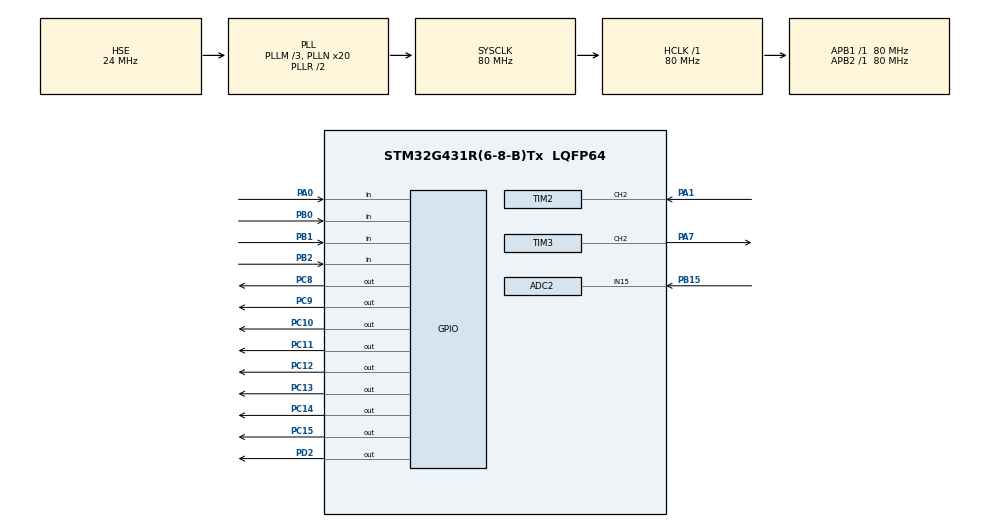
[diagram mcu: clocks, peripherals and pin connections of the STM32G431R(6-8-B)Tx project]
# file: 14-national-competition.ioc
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ADC2.Channel-0\#ChannelRegularConversion=ADC_CHANNEL_15
ADC2.NbrOfConversionFlag=1
ADC2.OffsetNumber-0\#ChannelRegularConversion=ADC_OFFSET_NONE
ADC2.Rank-0\#ChannelRegularConversion=1
ADC2.SamplingTime-0\#ChannelRegularConversion=ADC_SAMPLETIME_2CYCLES_5
Mcu.Family=STM32G4
Mcu.Name=STM32G431R(6-8-B)Tx
Mcu.Package=LQFP64
NVIC.PriorityGroup=NVIC_PRIORITYGROUP_4
NVIC.TIM1_BRK_TIM15_IRQn=true\:0\:0\:false\:false\:true\:true\:true\:true
NVIC.TIM2_IRQn=true\:0\:0\:false\:false\:true\:true\:true\:true
NVIC.TIM4_IRQn=true\:0\:0\:false\:false\:true\:true\:true\:true
NVIC.TIM8_UP_IRQn=true\:0\:0\:false\:false\:true\:true\:true\:true
PA0.GPIO_PuPd=GPIO_PULLUP
PA0.Signal=GPIO_Input
PA1.Signal=S_TIM2_CH2
PA13.Mode=Serial_Wire
PA13.Signal=SYS_JTMS-SWDIO
PA14.Mode=Serial_Wire
PA14.Signal=SYS_JTCK-SWCLK
PA7.Signal=S_TIM3_CH2
PB0.GPIO_PuPd=GPIO_PULLUP
PB0.Signal=GPIO_Input
PB1.GPIO_PuPd=GPIO_PULLUP
PB1.Signal=GPIO_Input
PB15.Mode=IN15-Single-Ended
PB15.Signal=ADC2_IN15
PB2.GPIO_PuPd=GPIO_PULLUP
PB2.Signal=GPIO_Input
PC10.PinState=GPIO_PIN_SET
PC10.Signal=GPIO_Output
PC11.PinState=GPIO_PIN_SET
PC11.Signal=GPIO_Output
PC12.Signal=GPIO_Output
PC13.PinState=GPIO_PIN_SET
PC13.Signal=GPIO_Output
PC14-OSC32_IN.PinState=GPIO_PIN_SET
PC14-OSC32_IN.Signal=GPIO_Output
PC15-OSC32_OUT.PinState=GPIO_PIN_SET
PC15-OSC32_OUT.Signal=GPIO_Output
PC8.PinState=GPIO_PIN_SET
PC8.Signal=GPIO_Output
PC9.PinState=GPIO_PIN_SET
PC9.Signal=GPIO_Output
PD2.Signal=GPIO_Output
PF0-OSC_IN.Mode=HSE-External-Oscillator
PF0-OSC_IN.Signal=RCC_OSC_IN
PF1-OSC_OUT.Mode=HSE-External-Oscillator
PF1-OSC_OUT.Signal=RCC_OSC_OUT
ProjectManager.HeapSize=0x200
ProjectManager.StackSize=0x400
ProjectManager.TargetToolchain=MDK-ARM V5.32
RCC.ADC12Freq_Value=80000000
RCC.AHBFreq_Value=80000000
RCC.APB1Freq_Value=80000000
RCC.APB1TimFreq_Value=80000000
RCC.APB2Freq_Value=80000000
RCC.APB2TimFreq_Value=80000000
RCC.CortexFreq_Value=80000000
RCC.EXTERNAL_CLOCK_VALUE=12288000
RCC.HCLKFreq_Value=80000000
RCC.HSE_VALUE=24000000
RCC.HSI48_VALUE=48000000
RCC.HSI_VALUE=16000000
RCC.LSE_VALUE=32768
RCC.PLLM=RCC_PLLM_DIV3
RCC.PLLN=20
RCC.PLLSourceVirtual=RCC_PLLSOURCE_HSE
RCC.SYSCLKFreq_VALUE=80000000
RCC.SYSCLKSource=RCC_SYSCLKSOURCE_PLLCLK
RCC.USBFreq_Value=80000000
RCC.VCOOutputFreq_Value=160000000
SH.S_TIM2_CH2.0=TIM2_CH2,Input_Capture2_from_TI2
SH.S_TIM3_CH2.0=TIM3_CH2,PWM Generation2 CH2
TIM15.PeriodNoDither=1000-1
TIM15.Prescaler=800-1
TIM2.Channel-Input_Capture2_from_TI2=TIM_CHANNEL_2
TIM2.Prescaler=80-1
TIM3.Channel-PWM\ Generation2\ CH2=TIM_CHANNEL_2
TIM3.PeriodNoDither=100-1
TIM3.Prescaler=800-1
TIM4.PeriodNoDither=1000-1
TIM4.Prescaler=800-1
TIM7.Prescaler=16000-1
TIM8.PeriodNoDither=10000-1
TIM8.Prescaler=800-1
VP_SYS_VS_DBSignals.Mode=DisableDeadBatterySignals
VP_TIM15_VS_ClockSourceINT.Mode=Internal
VP_TIM4_VS_ClockSourceINT.Mode=Internal
VP_TIM7_VS_ClockSourceINT.Mode=Enable_Timer
VP_TIM8_VS_ClockSourceINT.Mode=Internal
board=custom

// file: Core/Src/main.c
/* USER CODE BEGIN Header */
/**
  ******************************************************************************
  * @file           : main.c
  * @brief          : Main program body
  ******************************************************************************
  * @attention
  *
  * Copyright (c) 2025 STMicroelectronics.
  * All rights reserved.
  *
  * This software is licensed under terms that can be found in the LICENSE file
  * in the root directory of this software component.
  * If no LICENSE file comes with this software, it is provided AS-IS.
  *
  ******************************************************************************
  */
/* USER CODE END Header */
#include "main.h"
#include "adc.h"
#include "tim.h"
#include "gpio.h"

/* USER CODE BEGIN Includes */
#include "stdio.h"
#include "stdint.h"
#include "string.h"
#include "stdlib.h"
#include "lcd.h"
/* USER CODE END Includes */

/* USER CODE BEGIN PTD */
typedef struct info{
    double v;
    uint16_t fre;
    uint8_t duty;
}info;
/* USER CODE END PTD */

/* USER CODE BEGIN PV */
char text[20];
uint8_t page=0, FP=1, TT=6, FN=0, AN=0, TN=0, para_select=0, fset_select=0, TH=30, lock=0, D2=0;
uint8_t fre_flag=0, vol_flag=0;
uint16_t F1=0, FH=2000, sec = 0, idx=0, count=0;
double vr37=0, AH=3.0, VP=0.9;
uint8_t key_val, key_up, key_down, key_last_val;
info recd[1000];
uint8_t recd_flag=0, vol_huifang=0, fre_huifang=0, led_flag=0, play_state=0;
/* USER CODE END PV */

void SystemClock_Config(void);

/* USER CODE BEGIN 0 */
void LCD_Proc(void);
void LED_Proc(void);
void KEY_Proc(void);
void RECD_Proc(void);
void PWM_Proc(void);
/* USER CODE END 0 */

int main(void)
{

  /* MCU Configuration--------------------------------------------------------*/

  /* Reset of all peripherals, Initializes the Flash interface and the Systick. */
  HAL_Init();

  /* Configure the system clock */
  SystemClock_Config();

  /* Initialize all configured peripherals */
  MX_GPIO_Init();
  MX_TIM7_Init();
  MX_ADC2_Init();
  MX_TIM2_Init();
  MX_TIM3_Init();
  MX_TIM4_Init();
  MX_TIM15_Init();
  MX_TIM8_Init();
  /* USER CODE BEGIN 2 */
    // LCD
    LCD_Init();
    LCD_Clear(Black);
    LCD_SetTextColor(White);
    LCD_SetBackColor(Black);
    // TIM
    TIM7->CNT=0;
    HAL_TIM_Base_Start(&htim7);
    HAL_TIM_IC_Start_IT(&htim2, TIM_CHANNEL_2);
    TIM4->CNT=0;
    TIM15->CNT=0;
    __HAL_TIM_CLEAR_FLAG(&htim8, TIM_FLAG_UPDATE);
    // ADC
    HAL_ADCEx_Calibration_Start(&hadc2, ADC_SINGLE_ENDED);
    // PWM
    HAL_TIM_PWM_Start(&htim3, TIM_CHANNEL_2);
    TIM3->CCR2=0;
  /* USER CODE END 2 */

  /* Infinite loop */
  /* USER CODE BEGIN WHILE */
  while (1)
  {
      KEY_Proc();
      if(recd_flag==1){
          HAL_TIM_Base_Start_IT(&htim4);
          RECD_Proc();
      }
      if(play_state==1){
          PWM_Proc();
      }else{
          TIM3->CCR2=0;
      }
      LCD_Proc();
      LED_Proc();
    /* USER CODE END WHILE */

  }
}

void SystemClock_Config(void)
{
  RCC_OscInitTypeDef RCC_OscInitStruct = {0};
  RCC_ClkInitTypeDef RCC_ClkInitStruct = {0};

  /** Configure the main internal regulator output voltage
  */
  HAL_PWREx_ControlVoltageScaling(PWR_REGULATOR_VOLTAGE_SCALE1);

  /** Initializes the RCC Oscillators according to the specified parameters
  * in the RCC_OscInitTypeDef structure.
  */
  RCC_OscInitStruct.OscillatorType = RCC_OSCILLATORTYPE_HSE;
  RCC_OscInitStruct.HSEState = RCC_HSE_ON;
  RCC_OscInitStruct.PLL.PLLState = RCC_PLL_ON;
  RCC_OscInitStruct.PLL.PLLSource = RCC_PLLSOURCE_HSE;
  RCC_OscInitStruct.PLL.PLLM = RCC_PLLM_DIV3;
  RCC_OscInitStruct.PLL.PLLN = 20;
  RCC_OscInitStruct.PLL.PLLP = RCC_PLLP_DIV2;
  RCC_OscInitStruct.PLL.PLLQ = RCC_PLLQ_DIV2;
  RCC_OscInitStruct.PLL.PLLR = RCC_PLLR_DIV2;
  if (HAL_RCC_OscConfig(&RCC_OscInitStruct) != HAL_OK)
  {
    Error_Handler();
  }

  /** Initializes the CPU, AHB and APB buses clocks
  */
  RCC_ClkInitStruct.ClockType = RCC_CLOCKTYPE_HCLK|RCC_CLOCKTYPE_SYSCLK
                              |RCC_CLOCKTYPE_PCLK1|RCC_CLOCKTYPE_PCLK2;
  RCC_ClkInitStruct.SYSCLKSource = RCC_SYSCLKSOURCE_PLLCLK;
  RCC_ClkInitStruct.AHBCLKDivider = RCC_SYSCLK_DIV1;
  RCC_ClkInitStruct.APB1CLKDivider = RCC_HCLK_DIV1;
  RCC_ClkInitStruct.APB2CLKDivider = RCC_HCLK_DIV1;

  if (HAL_RCC_ClockConfig(&RCC_ClkInitStruct, FLASH_LATENCY_2) != HAL_OK)
  {
    Error_Handler();
  }
}

/* USER CODE BEGIN 4 */
double Get_Vol(){
    HAL_ADC_Start(&hadc2);
    uint16_t temp = HAL_ADC_GetValue(&hadc2);
    return temp*3.3/4096;
}
void RECD_Proc(){
    if(sec==0){
        HAL_TIM_Base_Stop_IT(&htim4);
        TIM4->CNT=0;
        __HAL_TIM_CLEAR_FLAG(&htim4, TIM_FLAG_UPDATE);
        recd_flag=0;
        lock=0;
    }
}
void PWM_Proc(){
    if(vol_huifang==1){
        // 电压回放
        __HAL_TIM_SET_PRESCALER(&htim3, 800-1);
        TIM3->CCR2 = (uint8_t)((90/(3.3-VP))*recd[count].v + 10 - (90/(3.3-VP))*VP);
    }else if(fre_huifang==1){
        // 脉冲信号回放
        __HAL_TIM_SET_PRESCALER(&htim3, 800000*FP/recd[count].fre-1);
        TIM3->CCR2 = recd[count].duty;
    }
}
void LCD_Proc(void){
    vr37 = Get_Vol();
    if(F1>FH && fre_flag==0){
        FN++;
        fre_flag=1;
    }else if(F1<=FH){
        fre_flag=0;
    }
    if(vr37>AH && vol_flag==0){
        AN++;
        vol_flag=1;
    }else if(vr37<=AH){
        vol_flag=0;
    }
    sprintf(text, "   %d  %d", sec, TIM4->CNT);
    LCD_DisplayStringLine(Line8, (uint8_t*)text);
    sprintf(text, "%d   %d  %d", idx, count, TIM15->CNT);
    LCD_DisplayStringLine(Line9, (uint8_t*)text);
    if(page==0){
        sprintf(text, "        DATA        ");
        LCD_DisplayStringLine(Line1, (uint8_t*)text);
        sprintf(text, "     F=%d        ", F1);
        LCD_DisplayStringLine(Line3, (uint8_t*)text);
        sprintf(text, "     D=%d%%          ", D2);
        LCD_DisplayStringLine(Line4, (uint8_t*)text);
        sprintf(text, "     A=%.1f          ", vr37);
        LCD_DisplayStringLine(Line5, (uint8_t*)text);
        sprintf(text, "     T=%.1f         ", 23.8);
        LCD_DisplayStringLine(Line6, (uint8_t*)text);
        para_select=0;
    }else if(page==1){
        sprintf(text, "        PARA        ");
        LCD_DisplayStringLine(Line1, (uint8_t*)text);
        sprintf(text, "     FH=%d       ", FH);
        LCD_DisplayStringLine(Line3, (uint8_t*)text);
        sprintf(text, "     AH=%.1f         ", AH);
        LCD_DisplayStringLine(Line4, (uint8_t*)text);
        sprintf(text, "     TH=%d          ", TH);
        LCD_DisplayStringLine(Line5, (uint8_t*)text);
    }else if(page==2){
        sprintf(text, "        RECD        ");
        LCD_DisplayStringLine(Line1, (uint8_t*)text);
        sprintf(text, "     FN=%d         ", FN);
        LCD_DisplayStringLine(Line3, (uint8_t*)text);
        sprintf(text, "     AN=%d         ", AN);
        LCD_DisplayStringLine(Line4, (uint8_t*)text);
        sprintf(text, "     TN=%d         ", TN);
        LCD_DisplayStringLine(Line5, (uint8_t*)text);
        fset_select=0;
    }else if(page==3){
        sprintf(text, "        FSET        ");
        LCD_DisplayStringLine(Line1, (uint8_t*)text);
        sprintf(text, "     FP=%d          ", FP);
        LCD_DisplayStringLine(Line3, (uint8_t*)text);
        sprintf(text, "     VP=%.1f         ", VP);
        LCD_DisplayStringLine(Line4, (uint8_t*)text);
        sprintf(text, "     TT=%d          ", TT);
        LCD_DisplayStringLine(Line5, (uint8_t*)text);
    }
}
uint8_t KEY_Scan(void){
    uint8_t key_value=0;
    if(HAL_GPIO_ReadPin(GPIOB, GPIO_PIN_0)==GPIO_PIN_RESET){
        key_value=1;
    }
    if(HAL_GPIO_ReadPin(GPIOB, GPIO_PIN_1)==GPIO_PIN_RESET){
        key_value=2;
    }
    if(HAL_GPIO_ReadPin(GPIOB, GPIO_PIN_2)==GPIO_PIN_RESET){
        key_value=3;
    }
    if(HAL_GPIO_ReadPin(GPIOA, GPIO_PIN_0)==GPIO_PIN_RESET){
        key_value=4;
    }
    return key_value;
}
void KEY_Proc(void){
    key_val=KEY_Scan();
    key_down=key_val&(key_val^key_last_val);
    key_up=~key_val&(key_val^key_last_val);
    key_last_val=key_val;
    if(key_down==1 && lock==0){
        page++;
        page%=4;
        LCD_Clear(Black);
    }
    if(key_down==2 && lock==0){
        if(page==0){
            lock=1;
            recd_flag=1;
            idx=0;
            sec = TT*100;
            HAL_TIM_Base_Start_IT(&htim4);
        }else if(page==1){
            para_select++;
            para_select%=3;
        }else if(page==3){
            fset_select++;
            fset_select%=3;
        }else if(page==2){
            FN=AN=TN=0;
        }
    }
    if((key_down==3 || key_down==4) && lock==0){
        TIM7->CNT=0;
    }
    if(TIM7->CNT>10000){
        if((key_val==3 || key_val==4) && lock==0){
            FH=2000;AH=3.0;TH=30;
            FP=1;VP=0.9;TT=6;
            FN=AN=TN=0;
            page=0;
        }
    }else{
        if(key_up==3 && lock==0){
            if(page==0){
                if(idx!=0){
                    TIM15->CNT=0;
                    vol_huifang=1;
                    play_state=1;
                    TIM15->CNT=0;
                    HAL_TIM_Base_Start_IT(&htim15);
                }
            }else if(page==1){
                if(para_select==0){
                    FH+=1000;
                    if(FH>10000) FH=10000;
                }else if(para_select==1){
                    AH+=0.3;
                    if(AH-3.3>0.1) AH=3.3;
                }else if(para_select==2){
                    TH+=1;
                    if(TH>80) TH=80;
                }
            }else if(page==3){
                if(fset_select==0){
                    FP+=1;
                    if(FP>10) FP=10;
                }else if(fset_select==1){
                    VP+=0.3;
                    if(VP-3.3>0.1) VP=3.3;
                }else if(fset_select==2){
                    TT+=2;
                    if(TT>10) TT=10;
                }
            }
        }
        if(key_up==4 && lock==0){
            if(page==0){
                if(idx!=0){
                    TIM15->CNT=0;
                    fre_huifang=1;
                    play_state=1;
                    TIM15->CNT=0;
                    HAL_TIM_Base_Start_IT(&htim15);
                }
            }else if(page==1){
                if(para_select==0){
                    FH-=1000;
                    if(FH<1000) FH=1000;
                }else if(para_select==1){
                    AH-=0.3;
                    if(AH<0) AH=0;
                }else if(para_select==2){
                    TH-=1;
                    if(TH==255) TH=0;
                }
            }else if(page==3){
                if(fset_select==0){
                    FP-=1;
                    if(FP<1) FP=1;
                }else if(fset_select==1){
                    VP-=0.3;
                    if(VP<0) VP=0;
                }else if(fset_select==2){
                    TT-=2;
                    if(TT<2) TT=2;
                }
            }
        }
    }
}
void LED_Show(uint8_t led, uint8_t mode){
    if(mode==0){
        HAL_GPIO_WritePin(GPIOC, led<<8, GPIO_PIN_SET);
        HAL_GPIO_WritePin(GPIOD, GPIO_PIN_2, GPIO_PIN_SET);
        HAL_GPIO_WritePin(GPIOD, GPIO_PIN_2, GPIO_PIN_RESET);
    }else{
        HAL_GPIO_WritePin(GPIOC, led<<8, GPIO_PIN_RESET);
        HAL_GPIO_WritePin(GPIOD, GPIO_PIN_2, GPIO_PIN_SET);
        HAL_GPIO_WritePin(GPIOD, GPIO_PIN_2, GPIO_PIN_RESET);
    }
}
void LED_Proc(void){
    (F1>FH)? LED_Show(0x08, 1) : LED_Show(0x08, 0);
    (vr37>AH)? LED_Show(0x10, 1) : LED_Show(0x10, 0);
    LED_Show(0x20, 1);
    if(recd_flag==1 || fre_huifang==1 || vol_huifang==1){
        HAL_TIM_Base_Start_IT(&htim8);
    }else{
        led_flag=0;
        HAL_TIM_Base_Stop_IT(&htim8);
        TIM8->CNT=0;
        __HAL_TIM_CLEAR_FLAG(&htim8, TIM_FLAG_UPDATE);
    }
    if(recd_flag==1) LED_Show(0x01, led_flag);
    else if(fre_huifang==1) LED_Show(0x02, led_flag);
    else if(vol_huifang==1) LED_Show(0x04, led_flag);
    else LED_Show(0x07, 0);
}
uint8_t cap_state=0;
uint16_t PWM_cycle, PWM_high;
void HAL_TIM_IC_CaptureCallback(TIM_HandleTypeDef *htim){
    if(htim->Instance==TIM2){
        if(cap_state==0){
            PWM_cycle = TIM2->CCR2;
            __HAL_TIM_SET_CAPTUREPOLARITY(htim, TIM_CHANNEL_2, TIM_INPUTCHANNELPOLARITY_FALLING);  // 捕获下降沿
            cap_state=1;
        }else if(cap_state==1){
            PWM_high = TIM2->CCR2 - PWM_cycle;
            __HAL_TIM_SET_CAPTUREPOLARITY(htim, TIM_CHANNEL_2, TIM_INPUTCHANNELPOLARITY_RISING);  // 捕获上升沿
            cap_state=2;
        }else if(cap_state==2){
            F1 = 1000000 / (TIM2->CCR2 - PWM_cycle);
            D2 = PWM_high*100 / (TIM2->CCR2 - PWM_cycle);
            cap_state=0;
            TIM2->CNT=0;
        }
    }
}
void HAL_TIM_PeriodElapsedCallback(TIM_HandleTypeDef *htim){
    if(htim->Instance==TIM8){
        led_flag^=1;
    }
    if(htim->Instance==TIM4){
        recd[idx].duty = D2;
        recd[idx].fre = F1;
        recd[idx++].v = vr37;
        sec--;
        if(sec==0) HAL_TIM_Base_Stop_IT(htim);
    }
    if(htim->Instance==TIM15){
        count++;
        if(count==idx) {
            count=play_state=0;
            vol_huifang=fre_huifang=0;
            HAL_TIM_Base_Stop_IT(&htim15);
        }
    }
}
/* USER CODE END 4 */

void Error_Handler(void)
{
  __disable_irq();
  while (1)
  {
  }
}
